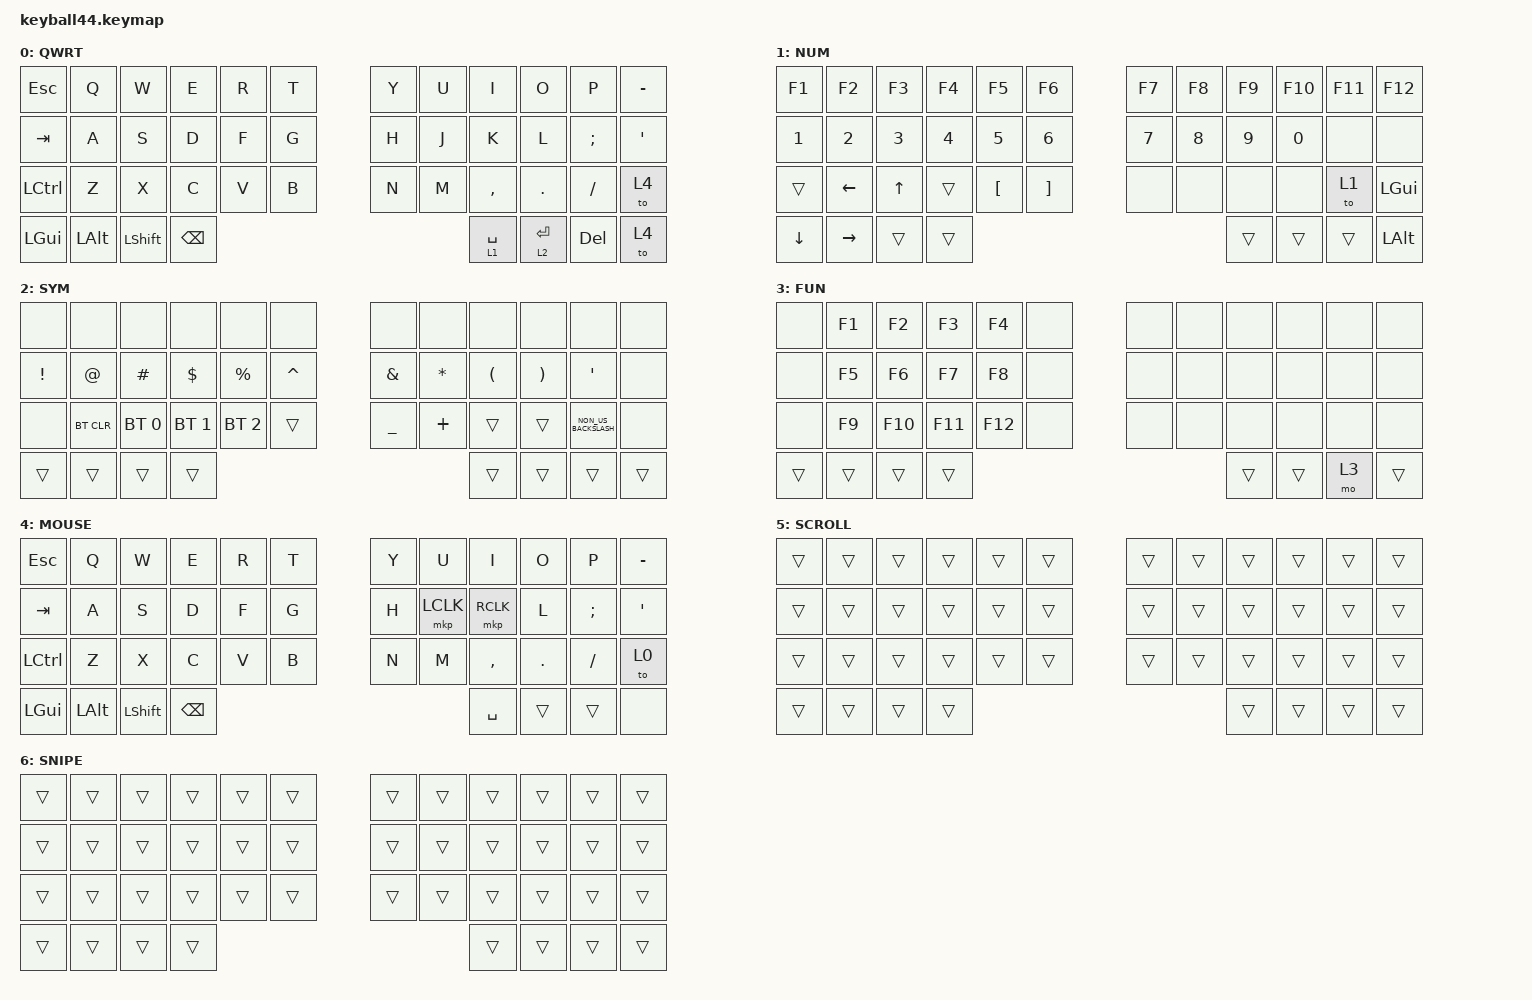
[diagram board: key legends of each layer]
#define DEFAULT 0
#define NUM     1
#define SYM     2
#define FUN     3
#define MOUSE   4
#define SCROLL  5
#define SNIPE   6

#include <behaviors/mouse_keys.dtsi>
#include <behaviors.dtsi>
#include <dt-bindings/zmk/bt.h>
#include <dt-bindings/zmk/keys.h>
#include <dt-bindings/zmk/mouse.h>

&lt {
    tapping-term-ms = <240>;
    flavor = "balanced";
    quick-tap-ms = <150>;
};

&mt {
    tapping-term-ms = <200>;
    flavor = "tap-preferred";
    quick-tap-ms = <150>;
};

&caps_word { continue-list = <UNDERSCORE MINUS>; };

/ {
    // custom shift using mod-morph 

    behaviors {
        cmqus: comma_question {
            compatible = "zmk,behavior-mod-morph";
            label = "COMMA_QUESTION";
            #binding-cells = <0>;
            bindings = <&kp COMMA>, <&kp QUESTION>;

            mods = <(MOD_LSFT|MOD_RSFT)>;
        };

        dtsmi: dot_semi {
            compatible = "zmk,behavior-mod-morph";
            label = "DOT_SEMI";
            #binding-cells = <0>;
            bindings = <&kp DOT>, <&kp SEMI>;

            mods = <(MOD_LSFT|MOD_RSFT)>;
        };
        };
    combos {
        compatible = "zmk,combos";
        combo_scroll {
            timeout-ms = <50>;
            key-positions = <19 20>;
            bindings = <&mo 5>;
        };
    };


    keymap {
        compatible = "zmk,keymap";

        default_layer {
            label = "QWRT";
            bindings = <
&kp ESCAPE  &kp Q     &kp W             &kp E               &kp R      &kp T                    &kp Y   &kp U  &kp I      &kp O    &kp P      &kp MINUS
&kp TAB     &kp A     &kp S             &kp D               &kp F      &kp G                    &kp H   &kp J  &kp K      &kp L    &kp SEMI   &kp SQT
&kp LCTRL   &kp Z     &kp X             &kp C               &kp V      &kp B                    &kp N   &kp M  &kp COMMA  &kp DOT  &kp SLASH  &to 4
&kp LGUI    &kp LALT  &kp LEFT_SHIFT    &kp BACKSPACE     &lt 1 SPACE            &lt 2 ENTER  &kp DELETE                                    &to 4
            >;
        };

        number_layer {
            label = "NUM";
            bindings = <
&kp F1        &kp F2        &kp F3        &kp F4        &kp F5               &kp F6                                 &kp F7        &kp F8        &kp F9        &kp F10       &kp F11  &kp F12
&kp NUMBER_1  &kp NUMBER_2  &kp NUMBER_3  &kp NUMBER_4  &kp NUMBER_5         &kp NUMBER_6                           &kp NUMBER_7  &kp NUMBER_8  &kp NUMBER_9  &kp NUMBER_0  &none    &none
&trans        &kp LEFT      &kp UP_ARROW  &trans        &kp LEFT_BRACKET        &kp RIGHT_BRACKET                         &none         &none         &none         &none         &to 1    &kp LGUI
&kp DOWN      &kp RIGHT     &trans        &trans        &trans                                              &trans  &trans                                                           &kp LALT
            >;
        };

        symbol_layer {
            label = "SYM";
            bindings = <
&none            &none         &none         &none         &none        &none                     &none           &none         &none                 &none                     &none                  &none
&kp EXCLAMATION  &kp AT_SIGN   &kp HASH      &kp DOLLAR    &kp PERCENT  &kp CARET                 &kp AMPERSAND   &kp ASTERISK  &kp LEFT_PARENTHESIS  &kp RIGHT_PARENTHESIS     &kp SQT                &none
&none            &bt BT_CLR    &bt BT_SEL 0  &bt BT_SEL 1  &bt BT_SEL 2  &trans                   &kp UNDERSCORE  &kp PLUS      &trans                &trans                    &kp NON_US_BACKSLASH   &none
&trans           &trans        &trans        &trans        &trans                         &trans  &trans                                                                                               &trans
            >;
        };

        function_layer {
            label = "FUN";
            bindings = <
&none   &kp F1  &kp F2   &kp F3   &kp F4   &none              &none  &none  &none  &none  &none  &none
&none   &kp F5  &kp F6   &kp F7   &kp F8   &none              &none  &none  &none  &none  &none  &none
&none   &kp F9  &kp F10  &kp F11  &kp F12  &none              &none  &none  &none  &none  &none  &none
&trans  &trans  &trans   &trans   &trans              &trans  &mo 3                              &trans
            >;
        };

        mouse_layer {
            label = "MOUSE";
            bindings = <
&kp ESCAPE      &kp Q     &kp W             &kp E               &kp R      &kp T                    &kp Y           &kp U       &kp I       &kp O   &kp P       &kp MINUS
&kp TAB         &kp A     &kp S             &kp D               &kp F      &kp G                    &kp H           &mkp LCLK   &mkp RCLK   &kp L   &kp SEMI    &kp SQT
&kp LCTRL       &kp Z     &kp X             &kp C               &kp V      &kp B                    &kp N           &kp M       &kp COMMA   &kp DOT &kp SLASH   &to 0
&kp LGUI        &kp LALT  &kp LEFT_SHIFT    &kp BACKSPACE     &kp SPACE                     &trans  &trans                                                      &none
            >;
        };

        scroll_layer {
            label = "SCROLL";
            bindings = <
&trans  &trans  &trans  &trans  &trans  &trans              &trans  &trans  &trans  &trans  &trans  &trans
&trans  &trans  &trans  &trans  &trans  &trans              &trans  &trans  &trans  &trans  &trans  &trans
&trans  &trans  &trans  &trans  &trans  &trans              &trans  &trans  &trans  &trans  &trans  &trans
&trans  &trans  &trans  &trans  &trans              &trans  &trans                                  &trans
            >;
        };

        snipe_layer {
            label = "SNIPE";
            bindings = <
&trans  &trans  &trans  &trans  &trans  &trans              &trans  &trans  &trans  &trans  &trans  &trans
&trans  &trans  &trans  &trans  &trans  &trans              &trans  &trans  &trans  &trans  &trans  &trans
&trans  &trans  &trans  &trans  &trans  &trans              &trans  &trans  &trans  &trans  &trans  &trans
&trans  &trans  &trans  &trans  &trans              &trans  &trans                                  &trans
            >;
        };
    };
};
